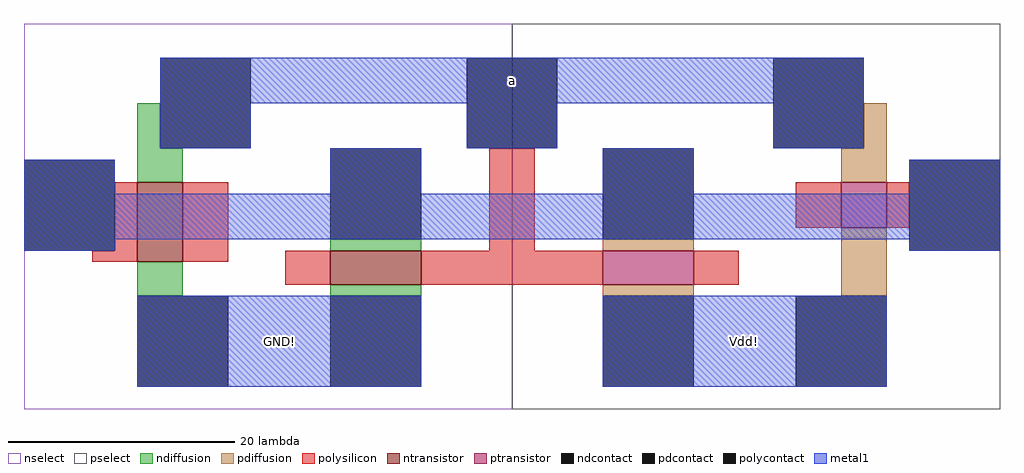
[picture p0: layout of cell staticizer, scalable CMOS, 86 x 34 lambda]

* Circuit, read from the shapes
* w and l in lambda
.subckt staticizer GND! Vdd! a
M1 a n1 GND! VSUBS nfet w=4 l=7
M2 n1 a GND! VSUBS nfet w=8 l=3
M3 n1 a Vdd! NWELL pfet w=8 l=3
M4 a n1 Vdd! NWELL pfet w=4 l=4
.ends

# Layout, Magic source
magic
tech scmos
<< nselect >>
rect -43 366 0 400
<< pselect >>
rect 0 366 43 400
<< ndiffusion >>
rect -33 389 -31 393
rect -33 386 -29 389
rect -16 380 -8 381
rect -33 376 -29 379
rect -16 376 -8 377
<< pdiffusion >>
rect 31 389 33 393
rect 29 386 33 389
rect 8 380 16 381
rect 8 376 16 377
rect 29 376 33 382
<< ntransistor >>
rect -33 379 -29 386
rect -16 377 -8 380
<< ptransistor >>
rect 29 382 33 386
rect 8 377 16 380
<< polysilicon >>
rect -35 380 -33 386
rect -37 379 -33 380
rect -29 379 -25 386
rect -2 380 2 389
rect 25 382 29 386
rect 33 382 35 386
rect -20 377 -16 380
rect -8 377 8 380
rect 16 377 20 380
<< ndcontact >>
rect -31 389 -23 397
rect -16 381 -8 389
rect -33 368 -25 376
rect -16 368 -8 376
<< pdcontact >>
rect 23 389 31 397
rect 8 381 16 389
rect 8 368 16 376
rect 25 368 33 376
<< polycontact >>
rect -4 389 4 397
rect -43 380 -35 388
rect 35 380 43 388
<< metal1 >>
rect -31 393 31 397
rect -31 389 -23 393
rect -4 389 4 393
rect 23 389 31 393
rect -43 385 -35 388
rect -16 385 -8 389
rect 8 385 16 389
rect 35 385 43 388
rect -43 381 43 385
rect -43 380 -35 381
rect 35 380 43 381
rect -33 368 -8 376
rect 8 368 33 376
<< labels >>
rlabel metal1 -31 393 31 397 5 a
rlabel metal1 -33 368 -8 376 1 GND!
rlabel metal1 8 368 33 376 1 Vdd!
<< end >>
